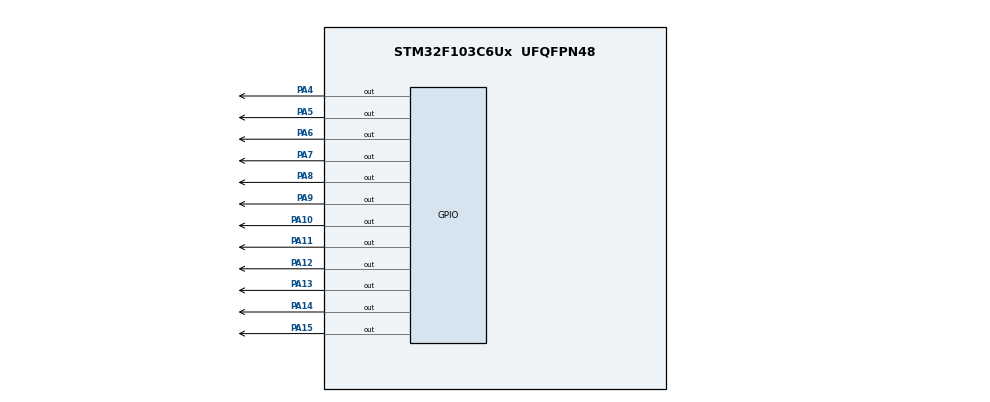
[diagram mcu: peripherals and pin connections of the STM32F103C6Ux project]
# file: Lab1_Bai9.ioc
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Mcu.Family=STM32F1
Mcu.Name=STM32F103C6Ux
Mcu.Package=UFQFPN48
NVIC.PriorityGroup=NVIC_PRIORITYGROUP_4
PA10.Signal=GPIO_Output
PA11.Signal=GPIO_Output
PA12.Signal=GPIO_Output
PA13.Signal=GPIO_Output
PA14.Signal=GPIO_Output
PA15.Signal=GPIO_Output
PA4.Signal=GPIO_Output
PA5.Signal=GPIO_Output
PA6.Signal=GPIO_Output
PA7.Signal=GPIO_Output
PA8.Signal=GPIO_Output
PA9.Signal=GPIO_Output
ProjectManager.HeapSize=0x200
ProjectManager.StackSize=0x400
ProjectManager.TargetToolchain=STM32CubeIDE
RCC.APB1Freq_Value=8000000
RCC.APB2Freq_Value=8000000
VP_SYS_VS_ND.Mode=No_Debug
board=custom

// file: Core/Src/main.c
/* USER CODE BEGIN Header */
/**
  ******************************************************************************
  * @file           : main.c
  * @brief          : Main program body
  ******************************************************************************
  * @attention
  *
  * <h2><center>&copy; Copyright (c) 2023 STMicroelectronics.
  * All rights reserved.</center></h2>
  *
  * This software component is licensed by ST under BSD 3-Clause license,
  * the "License"; You may not use this file except in compliance with the
  * License. You may obtain a copy of the License at:
  *                        opensource.org/licenses/BSD-3-Clause
  *
  ******************************************************************************
  */
/* USER CODE END Header */
#include "main.h"

void SystemClock_Config(void);
static void MX_GPIO_Init(void);

void clearNumberOnClock(int num){
	switch(num){
	case 0:
		HAL_GPIO_WritePin (GPIOA, GPIO_PIN_4, SET);
		break;
	case 1:
		HAL_GPIO_WritePin (GPIOA, GPIO_PIN_5, SET);
		break;
	case 2:
		HAL_GPIO_WritePin (GPIOA, GPIO_PIN_6, SET);
		break;
	case 3:
		HAL_GPIO_WritePin (GPIOA, GPIO_PIN_7, SET);
		break;
	case 4:
		HAL_GPIO_WritePin (GPIOA, GPIO_PIN_8, SET);
		break;
	case 5:
		HAL_GPIO_WritePin (GPIOA, GPIO_PIN_9, SET);
		break;
	case 6:
		HAL_GPIO_WritePin (GPIOA, GPIO_PIN_10, SET);
		break;
	case 7:
		HAL_GPIO_WritePin (GPIOA, GPIO_PIN_11, SET);
		break;
	case 8:
		HAL_GPIO_WritePin (GPIOA, GPIO_PIN_12, SET);
		break;
	case 9:
		HAL_GPIO_WritePin (GPIOA, GPIO_PIN_13, SET);
		break;
	case 10:
		HAL_GPIO_WritePin (GPIOA, GPIO_PIN_14, SET);
		break;
	case 11:
		HAL_GPIO_WritePin (GPIOA, GPIO_PIN_15, SET);
		break;
	}
}
int main(void)
{

  /* MCU Configuration--------------------------------------------------------*/

  /* Reset of all peripherals, Initializes the Flash interface and the Systick. */
  HAL_Init();

  /* Configure the system clock */
  SystemClock_Config();

  /* Initialize all configured peripherals */
  MX_GPIO_Init();

  /* Infinite loop */
  /* USER CODE BEGIN WHILE */
  int count = 0;
  HAL_GPIO_WritePin (GPIOA, GPIO_PIN_4, RESET);
  HAL_GPIO_WritePin (GPIOA, GPIO_PIN_5, RESET);
  HAL_GPIO_WritePin (GPIOA, GPIO_PIN_6, RESET);
  HAL_GPIO_WritePin (GPIOA, GPIO_PIN_7, RESET);
  HAL_GPIO_WritePin (GPIOA, GPIO_PIN_8, RESET);
  HAL_GPIO_WritePin (GPIOA, GPIO_PIN_9, RESET);
  HAL_GPIO_WritePin (GPIOA, GPIO_PIN_10, RESET);
  HAL_GPIO_WritePin (GPIOA, GPIO_PIN_11, RESET);
  HAL_GPIO_WritePin (GPIOA, GPIO_PIN_12, RESET);
  HAL_GPIO_WritePin (GPIOA, GPIO_PIN_13, RESET);
  HAL_GPIO_WritePin (GPIOA, GPIO_PIN_14, RESET);
  HAL_GPIO_WritePin (GPIOA, GPIO_PIN_15, RESET);
  while (1)
  {
	  if (count == 12) count = 0;
	  clearNumberOnClock(count);
	  count++;
    /* USER CODE END WHILE */
	  HAL_Delay(1000);
  }
}

void SystemClock_Config(void)
{
  RCC_OscInitTypeDef RCC_OscInitStruct = {0};
  RCC_ClkInitTypeDef RCC_ClkInitStruct = {0};

  /** Initializes the RCC Oscillators according to the specified parameters
  * in the RCC_OscInitTypeDef structure.
  */
  RCC_OscInitStruct.OscillatorType = RCC_OSCILLATORTYPE_HSI;
  RCC_OscInitStruct.HSIState = RCC_HSI_ON;
  RCC_OscInitStruct.HSICalibrationValue = RCC_HSICALIBRATION_DEFAULT;
  RCC_OscInitStruct.PLL.PLLState = RCC_PLL_NONE;
  if (HAL_RCC_OscConfig(&RCC_OscInitStruct) != HAL_OK)
  {
    Error_Handler();
  }
  /** Initializes the CPU, AHB and APB buses clocks
  */
  RCC_ClkInitStruct.ClockType = RCC_CLOCKTYPE_HCLK|RCC_CLOCKTYPE_SYSCLK
                              |RCC_CLOCKTYPE_PCLK1|RCC_CLOCKTYPE_PCLK2;
  RCC_ClkInitStruct.SYSCLKSource = RCC_SYSCLKSOURCE_HSI;
  RCC_ClkInitStruct.AHBCLKDivider = RCC_SYSCLK_DIV1;
  RCC_ClkInitStruct.APB1CLKDivider = RCC_HCLK_DIV1;
  RCC_ClkInitStruct.APB2CLKDivider = RCC_HCLK_DIV1;

  if (HAL_RCC_ClockConfig(&RCC_ClkInitStruct, FLASH_LATENCY_0) != HAL_OK)
  {
    Error_Handler();
  }
}

static void MX_GPIO_Init(void)
{
  GPIO_InitTypeDef GPIO_InitStruct = {0};

  /* GPIO Ports Clock Enable */
  __HAL_RCC_GPIOA_CLK_ENABLE();

  /*Configure GPIO pin Output Level */
  HAL_GPIO_WritePin(GPIOA, GPIO_PIN_4|GPIO_PIN_5|GPIO_PIN_6|GPIO_PIN_7
                          |GPIO_PIN_8|GPIO_PIN_9|GPIO_PIN_10|GPIO_PIN_11
                          |GPIO_PIN_12|GPIO_PIN_13|GPIO_PIN_14|GPIO_PIN_15, GPIO_PIN_RESET);

  /*Configure GPIO pins : PA4 PA5 PA6 PA7
                           PA8 PA9 PA10 PA11
                           PA12 PA13 PA14 PA15 */
  GPIO_InitStruct.Pin = GPIO_PIN_4|GPIO_PIN_5|GPIO_PIN_6|GPIO_PIN_7
                          |GPIO_PIN_8|GPIO_PIN_9|GPIO_PIN_10|GPIO_PIN_11
                          |GPIO_PIN_12|GPIO_PIN_13|GPIO_PIN_14|GPIO_PIN_15;
  GPIO_InitStruct.Mode = GPIO_MODE_OUTPUT_PP;
  GPIO_InitStruct.Pull = GPIO_NOPULL;
  GPIO_InitStruct.Speed = GPIO_SPEED_FREQ_LOW;
  HAL_GPIO_Init(GPIOA, &GPIO_InitStruct);

}

void Error_Handler(void)
{
  __disable_irq();
  while (1)
  {
  }
}

/************************ (C) COPYRIGHT STMicroelectronics *****END OF FILE****/
